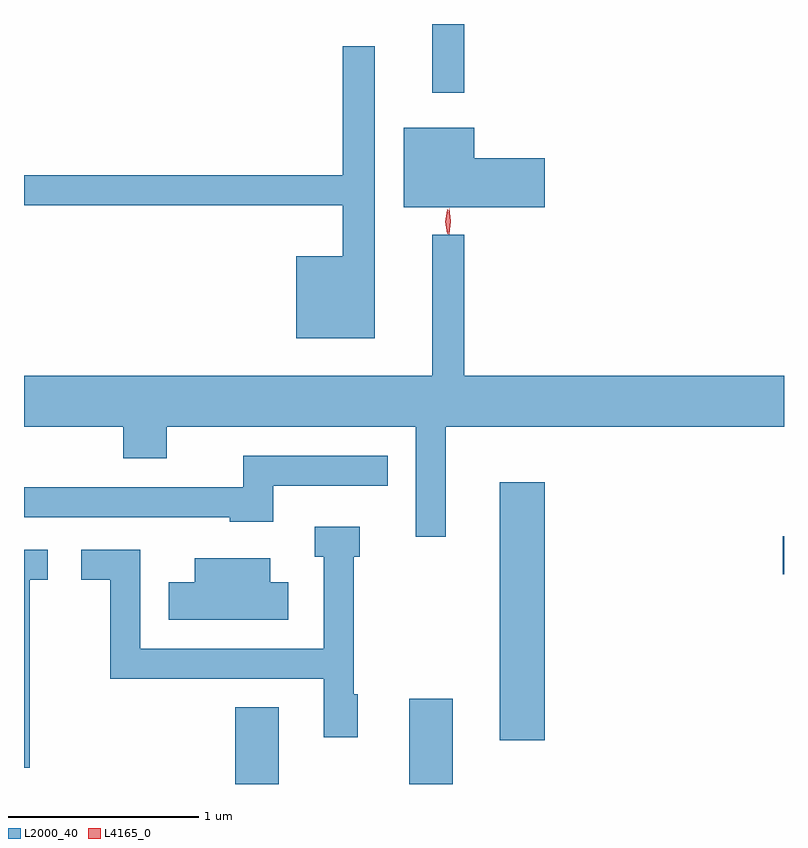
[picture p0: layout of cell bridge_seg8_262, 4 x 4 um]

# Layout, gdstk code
import gdstk
lib = gdstk.Library(unit=1e-6, precision=1e-09)
def R(c, l, rs):  # rectangles x0, y0, x1, y1
    for r in rs: c.add(gdstk.rectangle(r[:2], r[2:], *l))
def P(c, l, *ps):  # polygons
    for p in ps: c.add(gdstk.Polygon(p, *l))
L2000_40 = (2000, 40)
L4165_0 = (4165, 0)

bridge_seg8_262 = lib.new_cell('bridge_seg8_262')
R(bridge_seg8_262, L2000_40, [(1226.926,1823.436,1227.154,1823.839), (1227.841,1823.436,1228.069,1823.884), (1228.316,1823.666,1228.554,1825.024), (1229.806,1824.541,1229.813,1824.739), (1227.961,1827.073,1228.129,1827.436)])
P(bridge_seg8_262, L2000_40, [(1227.659,1827.318),(1227.491,1827.318),(1227.491,1826.639),(1225.813,1826.639),(1225.813,1826.481),(1227.491,1826.481),(1227.491,1826.214),(1227.246,1826.214),(1227.246,1825.781),(1227.659,1825.781)],
  [(1228.554,1826.729),(1228.184,1826.729),(1228.184,1826.889),(1227.811,1826.889),(1227.811,1826.471),(1228.554,1826.471)],
  [(1228.034,1825.316),(1229.813,1825.316),(1229.813,1825.584),(1228.129,1825.584),(1228.129,1826.328),(1227.961,1826.328),(1227.961,1825.584),(1225.813,1825.584),(1225.813,1825.316),(1226.336,1825.316),(1226.336,1825.151),(1226.564,1825.151),(1226.564,1825.316),(1227.876,1825.316),(1227.876,1824.738),(1228.034,1824.738)],
  [(1227.124,1825.006),(1227.728,1825.006),(1227.728,1825.164),(1226.966,1825.164),(1226.966,1824.999),(1225.813,1824.999),(1225.813,1824.841),(1226.896,1824.841),(1226.896,1824.816),(1227.124,1824.816)],
  [(1227.569,1823.909),(1227.549,1823.909),(1227.549,1824.631),(1227.579,1824.631),(1227.579,1824.789),(1227.343,1824.789),(1227.343,1824.631),(1227.391,1824.631),(1227.391,1824.149),(1226.424,1824.149),(1226.424,1824.669),(1226.113,1824.669),(1226.113,1824.511),(1226.266,1824.511),(1226.266,1823.991),(1227.391,1823.991),(1227.391,1823.681),(1227.569,1823.681)],
  [(1225.844,1824.511),(1225.938,1824.511),(1225.938,1824.669),(1225.813,1824.669),(1225.813,1823.521),(1225.844,1823.521)],
  [(1227.204,1824.499),(1227.109,1824.499),(1227.109,1824.624),(1226.711,1824.624),(1226.711,1824.499),(1226.576,1824.499),(1226.576,1824.301),(1227.204,1824.301)])
P(bridge_seg8_262, L4165_0, [(1228.049,1826.33),(1228.049,1826.33),(1228.04,1826.398),(1228.05,1826.465),(1228.051,1826.466),(1228.052,1826.465),(1228.06,1826.398),(1228.05,1826.33)],
  [(1228.041,1826.333),(1228.031,1826.396),(1228.04,1826.459),(1228.041,1826.46),(1228.042,1826.459),(1228.051,1826.396),(1228.042,1826.333),(1228.042,1826.333)])

lib.write_gds('bridge_seg8_262.gds')
